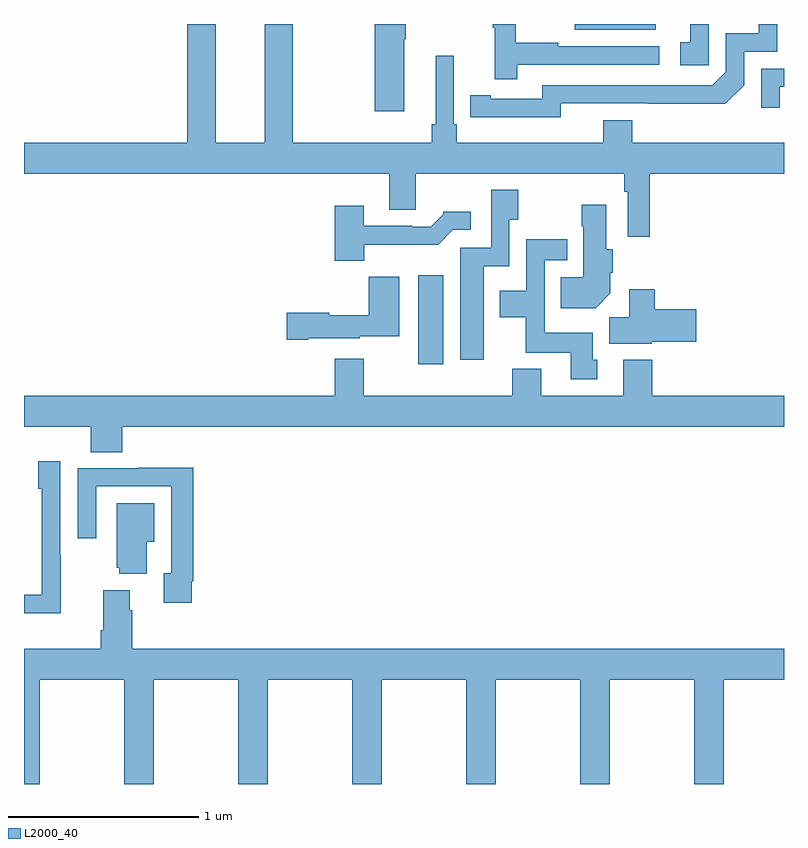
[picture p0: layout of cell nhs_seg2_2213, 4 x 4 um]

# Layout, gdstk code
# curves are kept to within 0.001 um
import gdstk
lib = gdstk.Library(unit=1e-6, precision=1e-09)
def R(c, l, rs):  # rectangles x0, y0, x1, y1
    for r in rs: c.add(gdstk.rectangle(r[:2], r[2:], *l))
def P(c, l, *ps):  # polygons
    for p in ps: c.add(gdstk.Polygon(p, *l))
L2000_40 = (2000, 40)

nhs_seg2_2213 = lib.new_cell('nhs_seg2_2213')
R(nhs_seg2_2213, L2000_40, [(229.076,604.008,229.207,604.477), (229.899,605.771,230.326,605.8)])
P(nhs_seg2_2213, L2000_40, [(230.604,605.8),(230.507,605.8),(230.507,605.703),(230.454,605.703),(230.454,605.583),(230.604,605.583)],
  [(229,605.719),(229.008,605.719),(229.008,605.8),(228.847,605.8),(228.847,605.34),(229,605.34)],
  [(229.595,605.586),(230.344,605.586),(230.344,605.682),(229.811,605.682),(229.811,605.702),(229.588,605.702),(229.588,605.8),(229.467,605.8),(229.467,605.779),(229.478,605.779),(229.478,605.508),(229.595,605.508)],
  [(229.824,605.382),(230.692,605.381),(230.79,605.478),(230.79,605.655),(230.964,605.655),(230.964,605.8),(230.867,605.8),(230.867,605.751),(230.694,605.751),(230.694,605.55),(230.622,605.478),(229.728,605.478),(229.728,605.406),(229.456,605.406),(229.456,605.426),(229.348,605.426),(229.348,605.31),(229.824,605.309)],
  [(230.294,605.012),(231,605.012),(231,605.176),(230.201,605.176),(230.201,605.293),(230.048,605.293),(230.048,605.176),(229.277,605.176),(229.277,605.272),(229.263,605.272),(229.263,605.632),(229.166,605.632),(229.166,605.272),(229.147,605.272),(229.147,605.176),(228.414,605.176),(228.414,605.8),(228.266,605.8),(228.266,605.176),(228.01,605.176),(228.01,605.8),(227.858,605.8),(227.858,605.176),(227,605.176),(227,605.012),(228.923,605.012),(228.923,604.822),(229.063,604.822),(229.063,605.012),(230.158,605.012),(230.158,604.916),(230.178,604.916),(230.178,604.68),(230.294,604.68)],
  [(230.977,605.469),(231,605.469),(231,605.565),(230.88,605.565),(230.88,605.358),(230.977,605.358)],
  [(229.42,604.526),(229.554,604.526),(229.554,604.771),(229.602,604.771),(229.602,604.927),(229.458,604.927),(229.458,604.623),(229.295,604.623),(229.295,604.032),(229.42,604.032)],
  [(230.086,604.382),(230.086,604.492),(230.099,604.492),(230.099,604.614),(230.065,604.614),(230.065,604.849),(229.936,604.849),(229.936,604.736),(229.943,604.736),(229.943,604.468),(229.825,604.468),(229.825,604.304),(230.008,604.304)],
  [(228.79,604.638),(229.179,604.638),(229.257,604.716),(229.351,604.716),(229.351,604.813),(229.206,604.813),(229.206,604.798),(229.142,604.734),(229.043,604.734),(229.043,604.737),(228.787,604.737),(228.787,604.843),(228.635,604.843),(228.635,604.553),(228.79,604.553)],
  [(230.017,604.032),(229.993,604.032),(229.993,604.174),(229.74,604.174),(229.74,604.557),(229.858,604.557),(229.858,604.666),(229.644,604.666),(229.644,604.396),(229.505,604.396),(229.505,604.256),(229.642,604.256),(229.642,604.07),(229.877,604.07),(229.877,603.93),(230.017,603.93)],
  [(228.496,604.145),(228.768,604.145),(228.768,604.157),(228.976,604.157),(228.976,604.471),(228.814,604.471),(228.814,604.267),(228.606,604.267),(228.606,604.28),(228.384,604.28),(228.384,604.138),(228.496,604.138)],
  [(230.304,604.127),(230.539,604.127),(230.539,604.298),(230.321,604.298),(230.321,604.405),(230.186,604.405),(230.186,604.256),(230.081,604.256),(230.081,604.118),(230.304,604.118)],
  [(227.516,603.68),(231,603.68),(231,603.844),(230.306,603.844),(230.306,604.033),(230.153,604.033),(230.153,603.844),(229.723,603.844),(229.723,603.985),(229.571,603.985),(229.571,603.844),(228.787,603.844),(228.787,604.039),(228.635,604.039),(228.635,603.844),(227,603.844),(227,603.68),(227.351,603.68),(227.351,603.547),(227.516,603.547)],
  [(227.193,603.005),(227.19,603.005),(227.19,603.499),(227.075,603.499),(227.075,603.354),(227.094,603.354),(227.094,602.796),(227,602.796),(227,602.699),(227.193,602.699)],
  [(227.884,602.866),(227.891,602.866),(227.891,603.464),(227.599,603.464),(227.599,603.462),(227.283,603.462),(227.283,603.093),(227.379,603.093),(227.379,603.366),(227.775,603.366),(227.775,602.91),(227.735,602.91),(227.735,602.754),(227.884,602.754)],
  [(227.647,603.074),(227.686,603.074),(227.686,603.277),(227.489,603.277),(227.489,602.937),(227.501,602.937),(227.501,602.906),(227.647,602.906)],
  [(227.082,602.348),(227.527,602.348),(227.527,601.8),(227.682,601.8),(227.682,602.348),(228.127,602.348),(228.127,601.8),(228.282,601.8),(228.282,602.348),(228.727,602.348),(228.727,601.8),(228.882,601.8),(228.882,602.348),(229.327,602.348),(229.327,601.8),(229.482,601.8),(229.482,602.348),(229.927,602.348),(229.927,601.8),(230.082,601.8),(230.082,602.348),(230.527,602.348),(230.527,601.8),(230.682,601.8),(230.682,602.348),(231,602.348),(231,602.512),(227.57,602.512),(227.57,602.714),(227.557,602.714),(227.557,602.821),(227.417,602.821),(227.417,602.608),(227.405,602.608),(227.405,602.512),(227,602.512),(227,601.8),(227.082,601.8)])

lib.write_gds('nhs_seg2_2213.gds')
